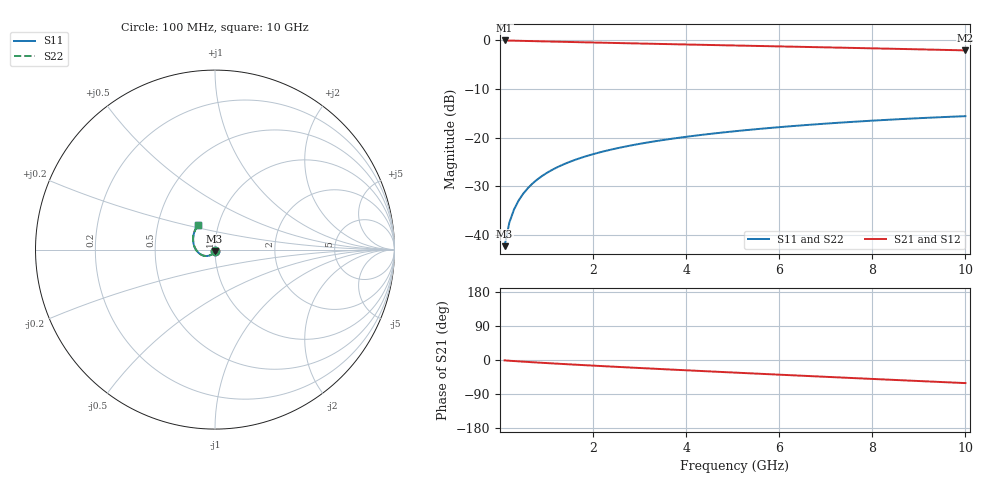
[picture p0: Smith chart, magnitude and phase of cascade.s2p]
! Created Thu Feb 25 18:17:35 2016
# hz S ma R 50
! 2 Port Network Data from SP1.SP block
! freq  magS11  angS11  magS21  angS21  magS12  angS12  magS22  angS22
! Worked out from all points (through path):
!   100 points, 100 MHz to 10 GHz, reference 50 ohm
!   highest |S21| = -0.03 dB at 100 MHz (marker M1); lowest = -2.1 dB at 10 GHz (marker M2)
!   group delay of S21, straight-line fit = 16.4 ps
!   lowest |S11| = -42.3 dB at 100 MHz (marker M3), VSWR 1.02, Z = 49.8 - j0.729 ohm
!   |S11| at or under -10 dB: start of sweep to end of sweep
!   |S22| runs from -42.3 to -15.6 dB; largest |S21 - S12| = 0
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1e8  0.007665 -107.1  0.997 -1.0  0.997 -1.0  0.007665 -107.1
2e8  0.0133 -112.3  0.9945 -1.9  0.9945 -1.9  0.0133 -112.3
3e8  0.01817 -115.9  0.9919 -2.8  0.9919 -2.8  0.01817 -115.9
4e8  0.02255 -118.8  0.9893 -3.6  0.9893 -3.6  0.02255 -118.8
5e8  0.02656 -121.4  0.9867 -4.4  0.9867 -4.4  0.02656 -121.4
6e8  0.03028 -123.8  0.9842 -5.1  0.9842 -5.1  0.03028 -123.8
7e8  0.03378 -126.0  0.9817 -5.9  0.9817 -5.9  0.03378 -126.0
8e8  0.03708 -128.1  0.9791 -6.6  0.9791 -6.6  0.03708 -128.1
9e8  0.04021 -130.1  0.9766 -7.3  0.9766 -7.3  0.04021 -130.1
1.1e9  0.04605 -134.0  0.9717 -8.8  0.9717 -8.8  0.04605 -134.0
1.4e9  0.05396 -139.3  0.9643 -10.8  0.9643 -10.8  0.05396 -139.3
1.8e9  0.06332 -145.8  0.9548 -13.5  0.9548 -13.5  0.06332 -145.8
2.1e9  0.06967 -150.5  0.9478 -15.5  0.9478 -15.5  0.06967 -150.5
2.5e9  0.07744 -156.4  0.9387 -18.0  0.9387 -18.0  0.07744 -156.4
2.9e9  0.08459 -162.0  0.9299 -20.5  0.9299 -20.5  0.08459 -162.0
3.4e9  0.09284 -168.7  0.919 -23.5  0.919 -23.5  0.09284 -168.7
4.2e9  0.1048 -178.7  0.9023 -28.3  0.9023 -28.3  0.1048 -178.7
5.1e9  0.117 170.7  0.8841 -33.6  0.8841 -33.6  0.117 170.7
6.7e9  0.1361 153.7  0.8527 -42.7  0.8527 -42.7  0.1361 153.7
7.5e9  0.1445 145.9  0.8372 -47.2  0.8372 -47.2  0.1445 145.9
8.4e9  0.1531 137.7  0.8197 -52.2  0.8197 -52.2  0.1531 137.7
1e10  0.1662 124.3  0.7883 -61.0  0.7883 -61.0  0.1662 124.3
